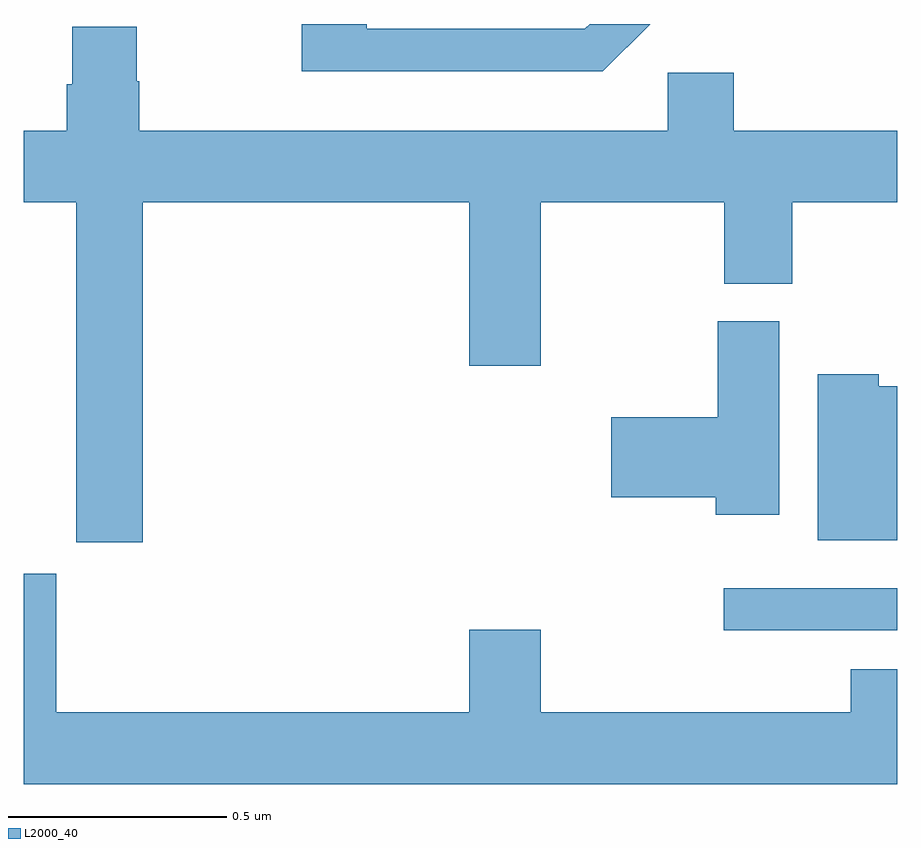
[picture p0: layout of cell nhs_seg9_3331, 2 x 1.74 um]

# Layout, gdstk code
import gdstk
lib = gdstk.Library(unit=1e-6, precision=1e-09)
def R(c, l, rs):  # rectangles x0, y0, x1, y1
    for r in rs: c.add(gdstk.rectangle(r[:2], r[2:], *l))
def P(c, l, *ps):  # polygons
    for p in ps: c.add(gdstk.Polygon(p, *l))
L2000_40 = (2000, 40)

nhs_seg9_3331 = lib.new_cell('nhs_seg9_3331')
R(nhs_seg9_3331, L2000_40, [(153.603,1190.112,154,1190.208)])
P(nhs_seg9_3331, L2000_40, [(153.434,1191.5),(153.296,1191.5),(153.285,1191.489),(152.785,1191.489),(152.785,1191.5),(152.637,1191.5),(152.637,1191.392),(153.326,1191.392)],
  [(153.474,1191.388),(153.474,1191.256),(152.264,1191.256),(152.264,1191.369),(152.259,1191.369),(152.259,1191.494),(152.111,1191.494),(152.111,1191.362),(152.099,1191.362),(152.099,1191.256),(152,1191.256),(152,1191.092),(152.12,1191.092),(152.12,1190.313),(152.273,1190.313),(152.273,1191.092),(153.02,1191.092),(153.02,1190.718),(153.184,1190.718),(153.184,1191.092),(153.604,1191.092),(153.604,1190.905),(153.759,1190.905),(153.759,1191.092),(154,1191.092),(154,1191.256),(153.626,1191.256),(153.626,1191.388)],
  [(153.73,1190.82),(153.589,1190.82),(153.589,1190.6),(153.345,1190.6),(153.345,1190.417),(153.584,1190.417),(153.584,1190.376),(153.73,1190.376)],
  [(154,1190.671),(153.957,1190.671),(153.957,1190.698),(153.818,1190.698),(153.818,1190.318),(154,1190.318)],
  [(154,1190.023),(153.893,1190.023),(153.893,1189.924),(153.184,1189.924),(153.184,1190.113),(153.02,1190.113),(153.02,1189.924),(152.074,1189.924),(152.074,1190.241),(152,1190.241),(152,1189.76),(154,1189.76)])

lib.write_gds('nhs_seg9_3331.gds')
